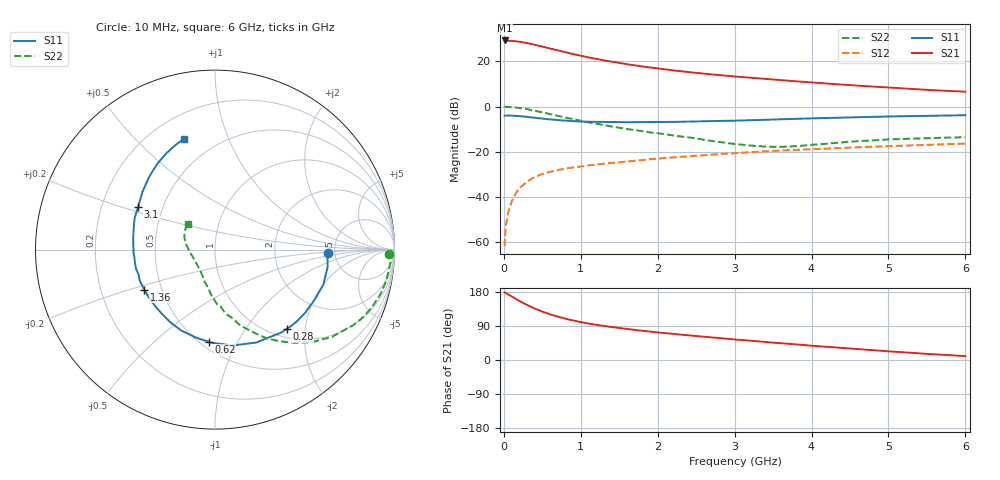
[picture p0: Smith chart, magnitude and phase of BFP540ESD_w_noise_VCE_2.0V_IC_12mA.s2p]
! Infineon Technologies  Discrete & RF Semiconductors
! BFP540ESD
! VCE =  2.0 V,  IC =  12 mA
! Common Emitter S-Parameters:  Nov 2015
# GHz  S  MA  R  50
!  f  S11  S21  S12  S22
! GHz  MAG  ANG  MAG  ANG  MAG  ANG  MAG  ANG
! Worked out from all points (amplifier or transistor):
!   210 points, 10 MHz to 6 GHz, reference 50 ohm
!   highest |S21| = 29.3 dB at 10 MHz (marker M1)
!   |S21| within 3 dB of that: start of sweep to 535.6 MHz
!   unconditionally stable (mu >= 1): 2.54 GHz to end of sweep
!   at 185 MHz: K = 0.14, MSG = 32.9 dB, |S12| = -37.0 dB
!   at 1.52 GHz: K = 0.78, MSG = 21.9 dB, |S12| = -24.7 dB
!   at 6 GHz: K = 1.15, MAG = 9.2 dB, |S12| = -16.4 dB
!   lowest NFmin = 0.93 dB at 900 MHz
!   S11 on the Smith chart (normalised r, x): 10 MHz: 4.40, -0.26; 280 MHz: 1.16, -1.59; 620 MHz: 0.55, -0.77; 1.36 GHz: 0.40, -0.22; 3.1 GHz: 0.36, +0.23; 6 GHz: 0.33, +0.70
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0.01  0.6304 -1.6  29.23 178.4  0.0008 100.6  0.9672 -1.5
0.02  0.6284 -3.8  28.83 177.6  0.0017 101.8  0.9869 -1.9
0.055  0.6344 -9.7  28.91 173.2  0.0044 88.5  0.9775 -5.4
0.1  0.6343 -17.8  28.67 167.8  0.0076 80.3  0.9707 -10.1
0.15  0.6216 -26.7  28.17 162.0  0.0115 79.8  0.9549 -15.0
0.2  0.6131 -35.2  27.41 156.2  0.0152 75.4  0.9323 -19.9
0.28  0.5957 -48.0  25.95 147.6  0.0201 72.0  0.8892 -27.0
0.4  0.5665 -66.1  23.49 135.9  0.0273 65.6  0.8136 -36.7
0.5  0.5429 -79.8  21.47 127.5  0.0318 61.2  0.7454 -43.8
0.62  0.5147 -93.9  19.02 119.2  0.0363 57.6  0.669 -50.7
0.8  0.4886 -112.6  15.99 108.8  0.0422 53.7  0.5707 -59.9
0.9  0.4763 -120.8  14.58 104.1  0.0444 52.6  0.5245 -63.7
1.02  0.4636 -129.9  13.14 99.3  0.0471 51.0  0.4756 -68.2
1.2  0.4559 -142.0  11.37 92.9  0.0514 49.2  0.4156 -73.9
1.36  0.4527 -150.5  10.17 88.2  0.0553 48.2  0.3719 -78.9
1.68  0.4519 -165.8  8.296 79.8  0.0622 46.6  0.3043 -87.5
2.02  0.4542 -178.5  6.918 72.4  0.0701 45.0  0.2529 -94.8
2.6  0.4711 163.6  5.362 61.3  0.0833 42.0  0.183 -109.9
3.1  0.4906 150.8  4.503 52.7  0.0947 39.0  0.142 -126.6
4.1  0.5522 130.3  3.329 36.3  0.1149 31.6  0.1454 -179.0
5.1  0.6054 115.4  2.58 21.6  0.134 24.0  0.1885 154.7
6  0.642 105.5  2.131 10.2  0.151 17.8  0.2096 136.3
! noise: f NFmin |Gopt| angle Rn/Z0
0.9  0.93  0.16  -133  0.11
1.8  1.11  0.2  -149  0.1
2.4  1.12  0.2  -146  0.1
3  1.24  0.25  -142  0.11
4  1.35  0.38  -110  0.17
5  1.51  0.47  -91  0.3
6  1.78  0.53  -92  0.49
